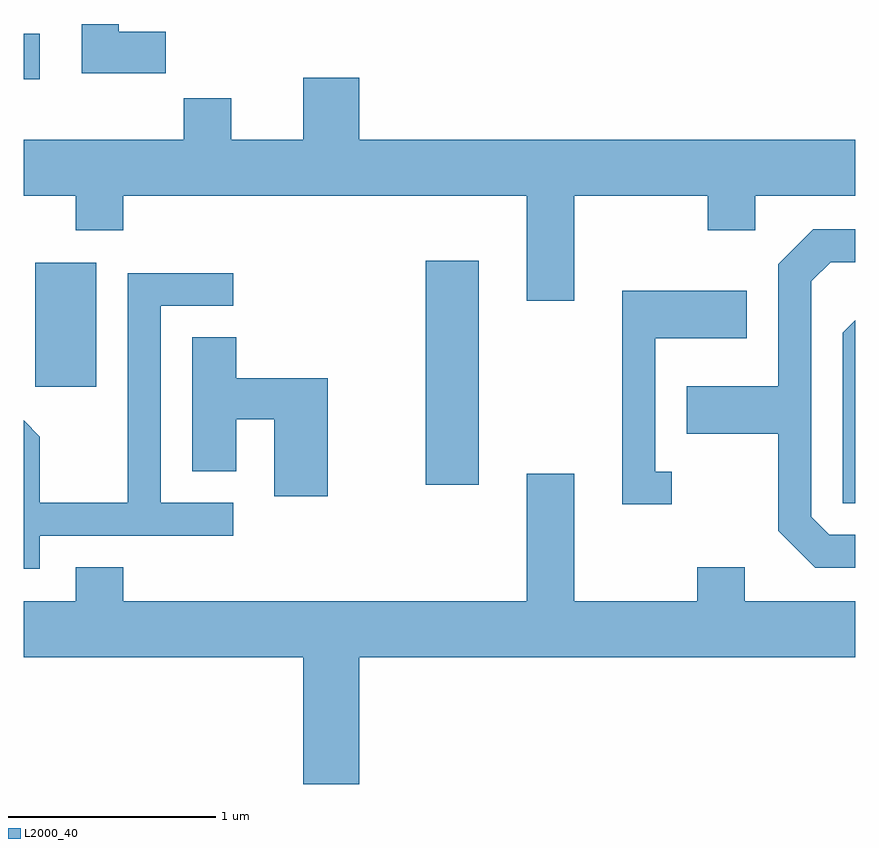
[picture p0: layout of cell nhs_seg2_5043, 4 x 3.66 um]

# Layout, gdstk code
import gdstk
lib = gdstk.Library(unit=1e-6, precision=1e-09)
def R(c, l, rs):  # rectangles x0, y0, x1, y1
    for r in rs: c.add(gdstk.rectangle(r[:2], r[2:], *l))
def P(c, l, *ps):  # polygons
    for p in ps: c.add(gdstk.Polygon(p, *l))
L2000_40 = (2000, 40)

nhs_seg2_5043 = lib.new_cell('nhs_seg2_5043')
R(nhs_seg2_5043, L2000_40, [(335.546,1053.586,335.799,1054.664), (333.666,1054.056,333.959,1054.654), (333.611,1055.536,333.689,1055.754)])
P(nhs_seg2_5043, L2000_40, [(334.294,1055.764),(334.069,1055.764),(334.069,1055.802),(333.891,1055.802),(333.891,1055.566),(334.294,1055.566)],
  [(336.259,1054.976),(336.901,1054.976),(336.901,1054.811),(337.129,1054.811),(337.129,1054.976),(337.611,1054.976),(337.611,1055.244),(335.224,1055.244),(335.224,1055.544),(334.956,1055.544),(334.956,1055.244),(334.609,1055.244),(334.609,1055.444),(334.381,1055.444),(334.381,1055.244),(333.611,1055.244),(333.611,1054.976),(333.861,1054.976),(333.861,1054.811),(334.089,1054.811),(334.089,1054.976),(336.031,1054.976),(336.031,1054.471),(336.259,1054.471)],
  [(337.611,1053.344),(337.487,1053.344),(337.399,1053.432),(337.399,1054.564),(337.492,1054.656),(337.611,1054.656),(337.611,1054.814),(337.409,1054.814),(337.241,1054.647),(337.241,1054.059),(336.801,1054.059),(336.801,1053.831),(337.241,1053.831),(337.241,1053.364),(337.419,1053.186),(337.611,1053.186)],
  [(333.689,1053.341),(334.618,1053.341),(334.618,1053.499),(334.269,1053.499),(334.269,1054.446),(334.618,1054.446),(334.618,1054.604),(334.111,1054.604),(334.111,1053.499),(333.689,1053.499),(333.689,1053.817),(333.611,1053.895),(333.611,1053.181),(333.689,1053.181)],
  [(336.728,1053.649),(336.649,1053.649),(336.649,1054.291),(337.089,1054.291),(337.089,1054.519),(336.491,1054.519),(336.491,1053.491),(336.728,1053.491)],
  [(337.611,1054.377),(337.551,1054.317),(337.551,1053.496),(337.611,1053.496)],
  [(335.074,1054.099),(334.634,1054.099),(334.634,1054.294),(334.421,1054.294),(334.421,1053.651),(334.634,1053.651),(334.634,1053.901),(334.816,1053.901),(334.816,1053.531),(335.074,1053.531)],
  [(335.224,1052.756),(337.611,1052.756),(337.611,1053.024),(337.079,1053.024),(337.079,1053.189),(336.851,1053.189),(336.851,1053.024),(336.259,1053.024),(336.259,1053.639),(336.031,1053.639),(336.031,1053.024),(334.089,1053.024),(334.089,1053.189),(333.861,1053.189),(333.861,1053.024),(333.611,1053.024),(333.611,1052.756),(334.956,1052.756),(334.956,1052.146),(335.224,1052.146)])

lib.write_gds('nhs_seg2_5043.gds')
